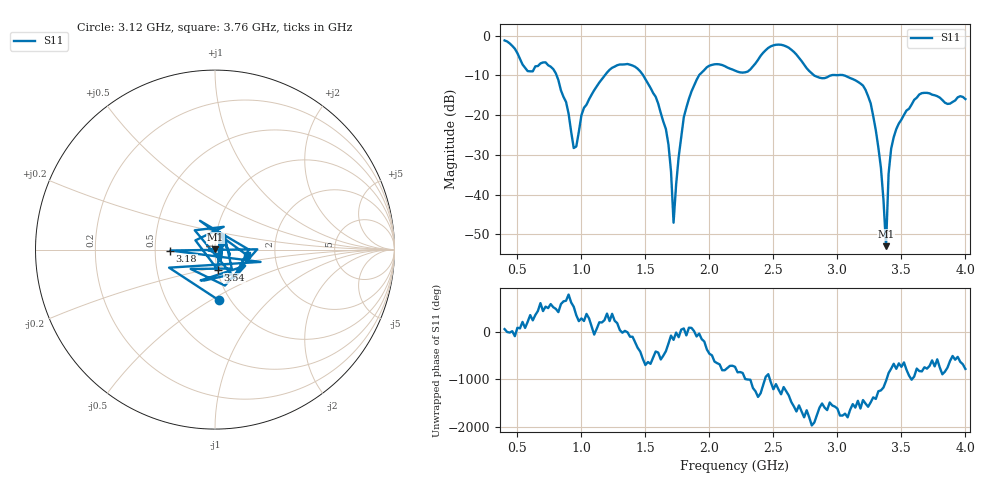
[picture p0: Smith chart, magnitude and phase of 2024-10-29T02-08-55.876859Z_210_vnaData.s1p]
!Created with skrf (http://scikit-rf.org).
# Hz S RI R 50.0
!freq ReS11 ImS11
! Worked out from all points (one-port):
!   181 points, 400 MHz to 4 GHz, reference 50 ohm
!   lowest |S11| = -53.0 dB at 3.38 GHz (marker M1), VSWR 1.00, Z = 50.2 + j0.154 ohm
!   |S11| at or under -10 dB: 806.3 MHz to 1.184 GHz (377.2 MHz wide, 37.9 % of centre); 1.483 GHz to 1.918 GHz (435.5 MHz wide, 25.6 % of centre); 3.052 GHz to end of sweep (the widest 3 of 4)
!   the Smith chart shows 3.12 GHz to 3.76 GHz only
!   S11 on the Smith chart (normalised r, x): 3.12 GHz: 0.89, -0.55; 3.18 GHz: 0.60, -0.01; 3.54 GHz: 1.01, -0.23; 3.76 GHz: 1.42, -0.09
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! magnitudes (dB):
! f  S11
! 400 MHz  -1.2
! 580 MHz  -8.9
! 780 MHz  -8.4
! 860 MHz  -15.4
! 940 MHz  -28.3
! 1.02 GHz  -18.1
! 1.3 GHz  -7.2
! 1.6 GHz  -17.1
! 1.68 GHz  -27.4
! 1.72 GHz  -47.1
! 1.76 GHz  -30.5
! 1.8 GHz  -20.5
! 1.92 GHz  -9.9
! 2.2 GHz  -8.8
! 2.66 GHz  -4.1
! 2.82 GHz  -10.1
! 3.1 GHz  -10.7
! 3.12 GHz  -10.9
! 3.18 GHz  -12.0
! 3.3 GHz  -23.8
! 3.34 GHz  -33.2
! 3.38 GHz  -53.0
! 3.4 GHz  -34.7
! 3.42 GHz  -28.4
! 3.54 GHz  -18.8
! 3.56 GHz  -18.4
! 3.76 GHz  -15.0
! 4 GHz  -15.9
